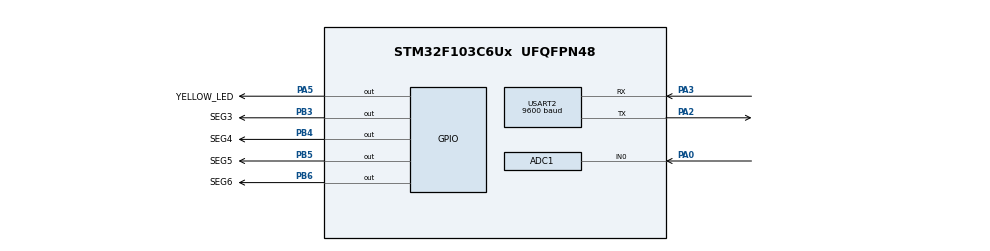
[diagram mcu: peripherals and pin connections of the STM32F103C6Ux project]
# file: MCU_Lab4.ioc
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ADC1.Channel-0\#ChannelRegularConversion=ADC_CHANNEL_0
ADC1.ContinuousConvMode=ENABLE
ADC1.NbrOfConversionFlag=1
ADC1.Rank-0\#ChannelRegularConversion=1
ADC1.SamplingTime-0\#ChannelRegularConversion=ADC_SAMPLETIME_1CYCLE_5
ADC1.master=1
Mcu.Family=STM32F1
Mcu.Name=STM32F103C6Ux
Mcu.Package=UFQFPN48
NVIC.PriorityGroup=NVIC_PRIORITYGROUP_4
NVIC.TIM2_IRQn=true\:0\:0\:false\:false\:true\:true\:true
NVIC.USART2_IRQn=true\:0\:0\:false\:false\:true\:true\:true
PA0-WKUP.Signal=ADCx_IN0
PA2.Mode=Asynchronous
PA2.Signal=USART2_TX
PA3.Mode=Asynchronous
PA3.Signal=USART2_RX
PA5.GPIO_Label=YELLOW_LED
PA5.Signal=GPIO_Output
PB3.GPIO_Label=SEG3
PB3.Signal=GPIO_Output
PB4.GPIO_Label=SEG4
PB4.Signal=GPIO_Output
PB5.GPIO_Label=SEG5
PB5.Signal=GPIO_Output
PB6.GPIO_Label=SEG6
PB6.Signal=GPIO_Output
ProjectManager.HeapSize=0x200
ProjectManager.StackSize=0x400
ProjectManager.TargetToolchain=STM32CubeIDE
RCC.APB1Freq_Value=8000000
RCC.APB2Freq_Value=8000000
SH.ADCx_IN0.0=ADC1_IN0,IN0
TIM2.Period=9
TIM2.Prescaler=7999
USART2.BaudRate=9600
USART2.VirtualMode=VM_ASYNC
VP_SYS_VS_ND.Mode=No_Debug
VP_TIM2_VS_ClockSourceINT.Mode=Internal
board=custom

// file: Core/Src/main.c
/* USER CODE BEGIN Header */
/**
  ******************************************************************************
  * @file           : main.c
  * @brief          : Main program body
  ******************************************************************************
  * @attention
  *
  * <h2><center>&copy; Copyright (c) 2023 STMicroelectronics.
  * All rights reserved.</center></h2>
  *
  * This software component is licensed by ST under BSD 3-Clause license,
  * the "License"; You may not use this file except in compliance with the
  * License. You may obtain a copy of the License at:
  *                        opensource.org/licenses/BSD-3-Clause
  *
  ******************************************************************************
  */
/* USER CODE END Header */
#include "main.h"

/* USER CODE BEGIN Includes */
#include "software_timer.h"
/* USER CODE END Includes */

/* USER CODE BEGIN PTD */
#define MAX_STR_LENGTH 100
#define MAX_BUFFER_SIZE 30

#define INIT	0
#define READ_STATE	1
#define RESPONSE_ADC_STATE	2
#define OK_STATE	3
/* USER CODE END PTD */

ADC_HandleTypeDef hadc1;

TIM_HandleTypeDef htim2;

UART_HandleTypeDef huart2;

/* USER CODE BEGIN PV */
uint8_t temp = 0;
uint8_t buffer[MAX_BUFFER_SIZE];
uint8_t index_buffer = 0;
uint8_t buffer_flag = 0;

int state = INIT;
uint8_t command_data[MAX_BUFFER_SIZE];
int command_flag = 0;
uint8_t parser_index = 0;
/* USER CODE END PV */

void SystemClock_Config(void);
static void MX_GPIO_Init(void);
static void MX_TIM2_Init(void);
static void MX_USART2_UART_Init(void);
static void MX_ADC1_Init(void);

/* USER CODE BEGIN 0 */
void HAL_UART_RxCpltCallback(UART_HandleTypeDef * huart){
	if(huart->Instance == USART2){
		//HAL_UART_Transmit(&huart2, &temp, 1, 50);
		buffer[index_buffer++] = temp;
		if(index_buffer >= 30) index_buffer =0;
		buffer_flag = 1;
		HAL_UART_Receive_IT(&huart2, &temp, 1);
	}
}

/* USER CODE END 0 */

int main(void)
{

  /* MCU Configuration--------------------------------------------------------*/

  /* Reset of all peripherals, Initializes the Flash interface and the Systick. */
  HAL_Init();

  /* Configure the system clock */
  SystemClock_Config();

  /* Initialize all configured peripherals */
  MX_GPIO_Init();
  MX_TIM2_Init();
  MX_USART2_UART_Init();
  MX_ADC1_Init();
  HAL_TIM_Base_Start_IT(&htim2);

  /* Infinite loop */
  /* USER CODE BEGIN WHILE */
  HAL_Init();
  SystemClock_Config();

  MX_GPIO_Init();
  MX_USART2_UART_Init();
  MX_ADC1_Init();

  HAL_UART_Receive_IT(&huart2, &temp, 1);

  void uart_communication_fsm();
  void command_parser_fsm();

  //Sensor reading
  while (1)
  {
    /* USER CODE END WHILE */

    /* USER CODE BEGIN 3 */

	 if(buffer_flag == 1){
		 command_parser_fsm();
		 buffer_flag = 0;
	 }
	 uart_communication_fsm();
//	 HAL_UART_Transmit(&huart2, "hello\n\r", 10, 1000);
  }
  /* USER CODE END 3 */
}

void SystemClock_Config(void)
{
  RCC_OscInitTypeDef RCC_OscInitStruct = {0};
  RCC_ClkInitTypeDef RCC_ClkInitStruct = {0};
  RCC_PeriphCLKInitTypeDef PeriphClkInit = {0};

  /** Initializes the RCC Oscillators according to the specified parameters
  * in the RCC_OscInitTypeDef structure.
  */
  RCC_OscInitStruct.OscillatorType = RCC_OSCILLATORTYPE_HSI;
  RCC_OscInitStruct.HSIState = RCC_HSI_ON;
  RCC_OscInitStruct.HSICalibrationValue = RCC_HSICALIBRATION_DEFAULT;
  RCC_OscInitStruct.PLL.PLLState = RCC_PLL_NONE;
  if (HAL_RCC_OscConfig(&RCC_OscInitStruct) != HAL_OK)
  {
    Error_Handler();
  }
  /** Initializes the CPU, AHB and APB buses clocks
  */
  RCC_ClkInitStruct.ClockType = RCC_CLOCKTYPE_HCLK|RCC_CLOCKTYPE_SYSCLK
                              |RCC_CLOCKTYPE_PCLK1|RCC_CLOCKTYPE_PCLK2;
  RCC_ClkInitStruct.SYSCLKSource = RCC_SYSCLKSOURCE_HSI;
  RCC_ClkInitStruct.AHBCLKDivider = RCC_SYSCLK_DIV1;
  RCC_ClkInitStruct.APB1CLKDivider = RCC_HCLK_DIV1;
  RCC_ClkInitStruct.APB2CLKDivider = RCC_HCLK_DIV1;

  if (HAL_RCC_ClockConfig(&RCC_ClkInitStruct, FLASH_LATENCY_0) != HAL_OK)
  {
    Error_Handler();
  }
  PeriphClkInit.PeriphClockSelection = RCC_PERIPHCLK_ADC;
  PeriphClkInit.AdcClockSelection = RCC_ADCPCLK2_DIV2;
  if (HAL_RCCEx_PeriphCLKConfig(&PeriphClkInit) != HAL_OK)
  {
    Error_Handler();
  }
}

static void MX_ADC1_Init(void)
{

  ADC_ChannelConfTypeDef sConfig = {0};

  /** Common config
  */
  hadc1.Instance = ADC1;
  hadc1.Init.ScanConvMode = ADC_SCAN_DISABLE;
  hadc1.Init.ContinuousConvMode = ENABLE;
  hadc1.Init.DiscontinuousConvMode = DISABLE;
  hadc1.Init.ExternalTrigConv = ADC_SOFTWARE_START;
  hadc1.Init.DataAlign = ADC_DATAALIGN_RIGHT;
  hadc1.Init.NbrOfConversion = 1;
  if (HAL_ADC_Init(&hadc1) != HAL_OK)
  {
    Error_Handler();
  }
  /** Configure Regular Channel
  */
  sConfig.Channel = ADC_CHANNEL_0;
  sConfig.Rank = ADC_REGULAR_RANK_1;
  sConfig.SamplingTime = ADC_SAMPLETIME_1CYCLE_5;
  if (HAL_ADC_ConfigChannel(&hadc1, &sConfig) != HAL_OK)
  {
    Error_Handler();
  }

}

static void MX_TIM2_Init(void)
{

  TIM_ClockConfigTypeDef sClockSourceConfig = {0};
  TIM_MasterConfigTypeDef sMasterConfig = {0};

  htim2.Instance = TIM2;
  htim2.Init.Prescaler = 7999;
  htim2.Init.CounterMode = TIM_COUNTERMODE_UP;
  htim2.Init.Period = 9;
  htim2.Init.ClockDivision = TIM_CLOCKDIVISION_DIV1;
  htim2.Init.AutoReloadPreload = TIM_AUTORELOAD_PRELOAD_DISABLE;
  if (HAL_TIM_Base_Init(&htim2) != HAL_OK)
  {
    Error_Handler();
  }
  sClockSourceConfig.ClockSource = TIM_CLOCKSOURCE_INTERNAL;
  if (HAL_TIM_ConfigClockSource(&htim2, &sClockSourceConfig) != HAL_OK)
  {
    Error_Handler();
  }
  sMasterConfig.MasterOutputTrigger = TIM_TRGO_RESET;
  sMasterConfig.MasterSlaveMode = TIM_MASTERSLAVEMODE_DISABLE;
  if (HAL_TIMEx_MasterConfigSynchronization(&htim2, &sMasterConfig) != HAL_OK)
  {
    Error_Handler();
  }

}

static void MX_USART2_UART_Init(void)
{

  huart2.Instance = USART2;
  huart2.Init.BaudRate = 9600;
  huart2.Init.WordLength = UART_WORDLENGTH_8B;
  huart2.Init.StopBits = UART_STOPBITS_1;
  huart2.Init.Parity = UART_PARITY_NONE;
  huart2.Init.Mode = UART_MODE_TX_RX;
  huart2.Init.HwFlowCtl = UART_HWCONTROL_NONE;
  huart2.Init.OverSampling = UART_OVERSAMPLING_16;
  if (HAL_UART_Init(&huart2) != HAL_OK)
  {
    Error_Handler();
  }

}

static void MX_GPIO_Init(void)
{
  GPIO_InitTypeDef GPIO_InitStruct = {0};

  /* GPIO Ports Clock Enable */
  __HAL_RCC_GPIOA_CLK_ENABLE();
  __HAL_RCC_GPIOB_CLK_ENABLE();

  /*Configure GPIO pin Output Level */
  HAL_GPIO_WritePin(YELLOW_LED_GPIO_Port, YELLOW_LED_Pin, GPIO_PIN_RESET);

  /*Configure GPIO pin Output Level */
  HAL_GPIO_WritePin(GPIOB, SEG3_Pin|SEG4_Pin|SEG5_Pin|SEG6_Pin, GPIO_PIN_RESET);

  /*Configure GPIO pin : YELLOW_LED_Pin */
  GPIO_InitStruct.Pin = YELLOW_LED_Pin;
  GPIO_InitStruct.Mode = GPIO_MODE_OUTPUT_PP;
  GPIO_InitStruct.Pull = GPIO_NOPULL;
  GPIO_InitStruct.Speed = GPIO_SPEED_FREQ_LOW;
  HAL_GPIO_Init(YELLOW_LED_GPIO_Port, &GPIO_InitStruct);

  /*Configure GPIO pins : SEG3_Pin SEG4_Pin SEG5_Pin SEG6_Pin */
  GPIO_InitStruct.Pin = SEG3_Pin|SEG4_Pin|SEG5_Pin|SEG6_Pin;
  GPIO_InitStruct.Mode = GPIO_MODE_OUTPUT_PP;
  GPIO_InitStruct.Pull = GPIO_NOPULL;
  GPIO_InitStruct.Speed = GPIO_SPEED_FREQ_LOW;
  HAL_GPIO_Init(GPIOB, &GPIO_InitStruct);

}

/* USER CODE BEGIN 4 */
uint32_t ADC_value = 0;
char previous_packet[MAX_BUFFER_SIZE];
void ADC_read(){
    // Ensure ADC is properly started and polled for conversion
    HAL_ADC_Start(&hadc1);
    HAL_ADC_PollForConversion(&hadc1, 1000);
    // Get the ADC value
    ADC_value = HAL_ADC_GetValue(&hadc1);
    // Convert the ADC value to a string and send it over UART
    sprintf(previous_packet, "!%lu#\r\n", ADC_value);
}

void command_parser_fsm(){
//This module is used to receive command from console
uint8_t index_reading = index_buffer - 1;
if(index_reading < 0) index_reading = MAX_BUFFER_SIZE - 1;

switch(state){
	case INIT:
		if(buffer[index_reading] == '!'){
				state = READ_STATE;
		}
		break;
	case READ_STATE:
		if(buffer[index_reading] == '!'){
			//case !123!RST#
            memset(command_data, '\0', MAX_BUFFER_SIZE);
            parser_index = 0;
		}
		else if(buffer[index_reading] == '#'){
			//send command data
			state = INIT;
			HAL_UART_Transmit(&huart2, command_data, sizeof(command_data), 50);
			index_buffer = 0;
			command_flag =  1;
			parser_index = 0;
			HAL_GPIO_TogglePin(YELLOW_LED_GPIO_Port,YELLOW_LED_Pin);
		}
		else{
			command_data[parser_index++] = buffer[index_reading];
		}
		break;
	default:
		break;
	}

}
int uart_state = RESPONSE_ADC_STATE;
void uart_communication_fsm(){
	//TODO
	switch(uart_state){
		case RESPONSE_ADC_STATE:
			if(command_flag == 1){
				command_flag = 0;
				//TODO
				 if(!strcmp((char*)command_data, "RST")){
					 ADC_read();
					 HAL_UART_Transmit(&huart2, (uint8_t*)previous_packet, strlen(previous_packet), 1000);
					 uart_state = OK_STATE;
					 setTimer1(300);
				 }
				 memset(command_data, '\0', MAX_BUFFER_SIZE);
			}
			//reset command data buffer

			break;
		case OK_STATE:
			if(timer1_flag == 1){
				setTimer1(3000);
				//TODO
				HAL_UART_Transmit(&huart2, (uint8_t*)previous_packet, strlen(previous_packet), 50);
			}
			//check command_flag
			if(command_flag == 1){
				command_flag = 0;
				//TODO
				 if(!strcmp((char*)command_data, "OK")){
					 uart_state = RESPONSE_ADC_STATE;
					 setTimer1(300);
				 }
				memset(command_data, '\0', MAX_BUFFER_SIZE);
			}
			break;
	}
}
void HAL_TIM_PeriodElapsedCallback(TIM_HandleTypeDef *htim){
	timerRun();
}
/* USER CODE END 4 */

void Error_Handler(void)
{
  __disable_irq();
  while (1)
  {
  }
}

/************************ (C) COPYRIGHT STMicroelectronics *****END OF FILE****/
